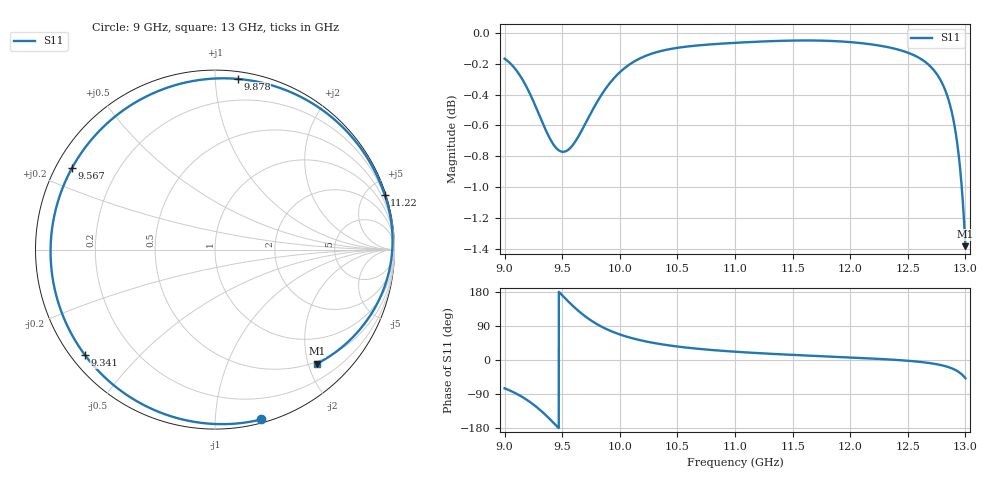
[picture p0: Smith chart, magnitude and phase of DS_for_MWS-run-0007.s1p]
! TOUCHSTONE file generated by CST DESIGN STUDIO
! Date and time: Tue Feb  4 17:22:54 2025
! Project name: C:\Work\MatlabApps\UnitCellOptimizationMatlab\CST\unitcell.cst
! Tree item: Tasks\Sweep1\SPara1\S-Parameters
! Header version: 2024
! Port assignment regex: !\s*Touchstone port\s*([0-9]+)\s*=\s*(CST MWS port|CST DES external port|CST DES block port)\s*(.+)\s* \(\"(.*)\"\)(\s*mode\s*([0-9]+))?.*
! Touchstone port assignment:
! Touchstone port 1 = CST DES external port 1 ("")
# GHz S MA R 50
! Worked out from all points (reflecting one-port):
!   4001 points, 9 GHz to 13 GHz, reference 50 ohm
!   lowest |S11| = -1.4 dB at 13 GHz (marker M1), VSWR 12.59, Z = 23 - j108 ohm
!   phase of S11 starts at -75 deg and turns -334 deg over the sweep
!   S11 on the Smith chart (normalised r, x): 9 GHz: 0.03, -1.31; 9.341 GHz: 0.04, -0.36; 9.567 GHz: 0.05, +0.27; 9.878 GHz: 0.05, +1.14; 11.22 GHz: 0.13, +6.36; 13 GHz: 0.46, -2.15
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9  0.981 -74.7
9.11  0.9716 -90.2
9.194  0.96 -105.4
9.269  0.9467 -122.0
9.341  0.933 -140.9
9.385  0.9255 -153.6
9.424  0.9201 -165.5
9.462  0.9166 -177.3
9.5  0.9151 170.7
9.567  0.9175 150.2
9.637  0.9251 130.6
9.708  0.9356 113.3
9.786  0.9474 97.4
9.878  0.9594 82.4
10  0.9711 67.4
10.101  0.9777 58.0
10.215  0.9827 49.7
10.346  0.9864 42.3
10.5  0.989 35.6
11  0.9926 21.9
11.218  0.9936 17.9
11.5  0.9943 13.5
12  0.9932 6.7
12.5  0.9854 -2.0
12.707  0.9744 -8.9
12.851  0.9521 -18.6
12.933  0.9186 -29.8
13  0.8529 -48.2
